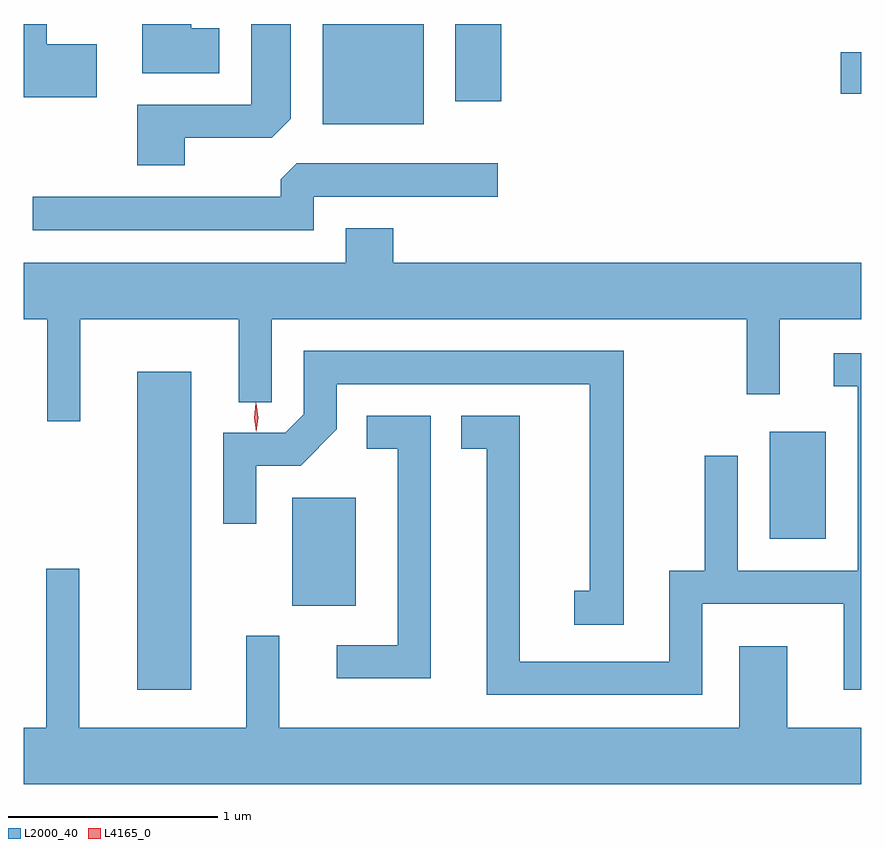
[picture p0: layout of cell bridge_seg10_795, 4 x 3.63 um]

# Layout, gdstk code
import gdstk
lib = gdstk.Library(unit=1e-6, precision=1e-09)
def R(c, l, rs):  # rectangles x0, y0, x1, y1
    for r in rs: c.add(gdstk.rectangle(r[:2], r[2:], *l))
def P(c, l, *ps):  # polygons
    for p in ps: c.add(gdstk.Polygon(p, *l))
L2000_40 = (2000, 40)
L4165_0 = (4165, 0)

bridge_seg10_795 = lib.new_cell('bridge_seg10_795')
R(bridge_seg10_795, L2000_40, [(357.316,2127.686,357.574,2129.204), (358.056,2128.086,358.359,2128.604), (360.336,2128.406,360.604,2128.919), (358.201,2130.386,358.684,2130.865), (358.836,2130.496,359.054,2130.865), (360.676,2130.531,360.774,2130.729)])
P(bridge_seg10_795, L2000_40, [(357.544,2130.321),(357.959,2130.321),(358.049,2130.412),(358.049,2130.865),(357.861,2130.865),(357.861,2130.479),(357.316,2130.479),(357.316,2130.191),(357.544,2130.191)],
  [(357.124,2130.769),(356.884,2130.769),(356.884,2130.865),(356.774,2130.865),(356.774,2130.516),(357.124,2130.516)],
  [(357.709,2130.844),(357.574,2130.844),(357.574,2130.865),(357.341,2130.865),(357.341,2130.631),(357.709,2130.631)],
  [(358.159,2130.041),(359.038,2130.041),(359.038,2130.199),(358.077,2130.199),(358.001,2130.124),(358.001,2130.039),(356.818,2130.039),(356.818,2129.881),(358.159,2129.881)],
  [(357.044,2129.456),(357.801,2129.456),(357.801,2129.058),(357.959,2129.058),(357.959,2129.456),(360.226,2129.456),(360.226,2129.098),(360.384,2129.098),(360.384,2129.456),(360.774,2129.456),(360.774,2129.724),(358.539,2129.724),(358.539,2129.889),(358.311,2129.889),(358.311,2129.724),(356.774,2129.724),(356.774,2129.456),(356.886,2129.456),(356.886,2128.968),(357.044,2128.968)],
  [(359.639,2129.304),(358.111,2129.304),(358.111,2129.002),(358.024,2128.914),(357.726,2128.914),(357.726,2128.478),(357.884,2128.478),(357.884,2128.756),(358.097,2128.756),(358.269,2128.929),(358.269,2129.146),(359.476,2129.146),(359.476,2128.159),(359.403,2128.159),(359.403,2127.996),(359.639,2127.996)],
  [(360.014,2128.096),(360.691,2128.096),(360.691,2127.686),(360.774,2127.686),(360.774,2129.294),(360.643,2129.294),(360.643,2129.136),(360.756,2129.136),(360.756,2128.254),(360.184,2128.254),(360.184,2128.803),(360.026,2128.803),(360.026,2128.254),(359.856,2128.254),(359.856,2127.819),(359.144,2127.819),(359.144,2128.994),(358.863,2128.994),(358.863,2128.836),(358.986,2128.836),(358.986,2127.661),(360.014,2127.661)],
  [(358.719,2128.994),(358.413,2128.994),(358.413,2128.836),(358.561,2128.836),(358.561,2127.899),(358.268,2127.899),(358.268,2127.741),(358.719,2127.741)],
  [(357.836,2127.943),(357.836,2127.504),(357.039,2127.504),(357.039,2128.263),(356.881,2128.263),(356.881,2127.504),(356.774,2127.504),(356.774,2127.236),(360.774,2127.236),(360.774,2127.504),(360.419,2127.504),(360.419,2127.894),(360.191,2127.894),(360.191,2127.504),(357.994,2127.504),(357.994,2127.943)])
P(bridge_seg10_795, L4165_0, [(357.884,2128.917),(357.874,2128.986),(357.882,2129.055),(357.883,2129.056),(357.884,2129.055),(357.894,2128.986),(357.885,2128.917),(357.885,2128.917)],
  [(357.885,2128.919),(357.884,2128.92),(357.874,2128.986),(357.882,2129.052),(357.883,2129.052),(357.884,2129.052),(357.894,2128.986),(357.885,2128.92)])

lib.write_gds('bridge_seg10_795.gds')
